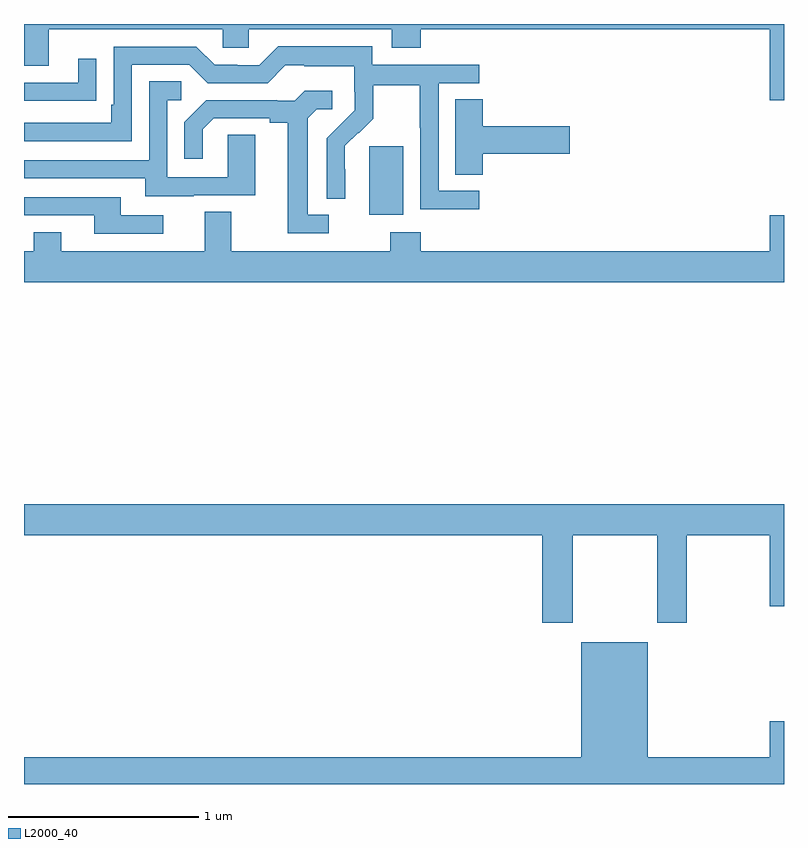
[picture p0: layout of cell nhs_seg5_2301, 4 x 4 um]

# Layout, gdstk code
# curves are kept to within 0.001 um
import gdstk
lib = gdstk.Library(unit=1e-6, precision=1e-09)
def R(c, l, rs):  # rectangles x0, y0, x1, y1
    for r in rs: c.add(gdstk.rectangle(r[:2], r[2:], *l))
def P(c, l, *ps):  # polygons
    for p in ps: c.add(gdstk.Polygon(p, *l))
L2000_40 = (2000, 40)

nhs_seg5_2301 = lib.new_cell('nhs_seg5_2301')
R(nhs_seg5_2301, L2000_40, [(246.818,843.794,246.997,844.155)])
P(nhs_seg5_2301, L2000_40, [(249,844.799),(245,844.799),(245,844.578),(245.131,844.578),(245.131,844.772),(246.045,844.772),(246.045,844.674),(246.183,844.674),(246.183,844.772),(246.935,844.772),(246.935,844.673),(247.088,844.673),(247.088,844.772),(248.924,844.772),(248.924,844.398),(249,844.398)],
  [(247.396,843.921),(247.182,843.921),(247.182,844.488),(247.396,844.488),(247.396,844.584),(246.834,844.584),(246.834,844.681),(246.337,844.681),(246.237,844.581),(246.122,844.581),(246.122,844.584),(246.003,844.584),(245.907,844.68),(245.472,844.68),(245.472,844.375),(245.459,844.375),(245.459,844.278),(245,844.278),(245,844.182),(245.568,844.182),(245.568,844.584),(245.871,844.584),(245.967,844.488),(246.282,844.488),(246.375,844.581),(246.475,844.581),(246.475,844.577),(246.738,844.577),(246.738,844.443),(246.74,844.443),(246.74,844.346),(246.594,844.198),(246.594,843.88),(246.69,843.88),(246.689,844.157),(246.759,844.227),(246.762,844.224),(246.839,844.301),(246.839,844.476),(247.084,844.476),(247.084,844.252),(247.086,844.252),(247.086,843.823),(247.396,843.823)],
  [(245.279,844.396),(245.381,844.396),(245.381,844.615),(245.285,844.615),(245.285,844.491),(245,844.491),(245,844.395),(245.279,844.395)],
  [(245.893,843.897),(246.217,843.897),(246.217,844.217),(246.072,844.217),(246.072,843.993),(245.754,843.993),(245.754,844.398),(245.827,844.398),(245.827,844.499),(245.658,844.499),(245.658,844.083),(245,844.083),(245,843.987),(245.639,843.987),(245.639,843.893),(245.893,843.893)],
  [(246.604,843.795),(246.493,843.795),(246.493,844.303),(246.54,844.35),(246.622,844.35),(246.622,844.447),(246.478,844.447),(246.426,844.395),(246.332,844.395),(246.332,844.398),(245.96,844.398),(245.844,844.282),(245.844,844.089),(245.941,844.089),(245.941,844.245),(245.998,844.302),(246.293,844.302),(246.293,844.28),(246.389,844.28),(246.389,843.699),(246.604,843.699)],
  [(247.415,844.115),(247.873,844.115),(247.873,844.262),(247.415,844.262),(247.415,844.403),(247.271,844.403),(247.271,844.006),(247.415,844.006)],
  [(245.734,843.792),(245.509,843.792),(245.509,843.888),(245,843.888),(245,843.792),(245.369,843.792),(245.369,843.696),(245.734,843.696)],
  [(249,843.793),(248.924,843.793),(248.924,843.604),(247.088,843.604),(247.088,843.703),(246.928,843.703),(246.928,843.604),(246.091,843.604),(246.091,843.812),(245.951,843.812),(245.951,843.604),(245.197,843.604),(245.197,843.703),(245.05,843.703),(245.05,843.604),(245,843.604),(245,843.44),(249,843.44)],
  [(247.887,842.108),(248.332,842.108),(248.332,841.647),(248.487,841.647),(248.487,842.108),(248.924,842.108),(248.924,841.734),(249,841.734),(249,842.272),(245,842.272),(245,842.108),(247.727,842.108),(247.727,841.647),(247.887,841.647)],
  [(249,841.129),(248.924,841.129),(248.924,840.94),(248.284,840.94),(248.284,841.546),(247.934,841.546),(247.934,840.94),(245,840.94),(245,840.799),(249,840.799)])

lib.write_gds('nhs_seg5_2301.gds')
